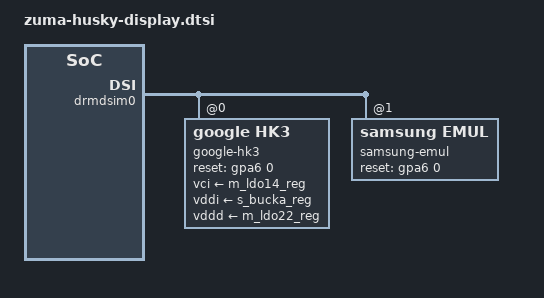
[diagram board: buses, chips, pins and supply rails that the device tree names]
// SPDX-License-Identifier: GPL-2.0-only
/*
 * Display nodes for husky-related boards.
 *
 * Copyright 2022 Google LLC
 *
 */

#include <dt-bindings/gpio/gpio.h>

&drmdsim0 {
	google_hk3: panel@0 {
		compatible = "google,hk3";
		label = "google-hk3";
		channel = <0>;
		//touch = <&spitouch>;

		/* reset, power */
		reset-gpios = <&gpa6 0 GPIO_ACTIVE_HIGH>;
		vci-supply = <&m_ldo14_reg>;
		vddi-supply = <&s_bucka_reg>;
		vddd-supply = <&m_ldo22_reg>;
	};
	panel@1 {
		compatible = "samsung,emul";
		label = "samsung-emul";
		channel = <0>;

		/* reset, power */
		reset-gpios = <&gpa6 0 GPIO_ACTIVE_HIGH>;
	};
};
